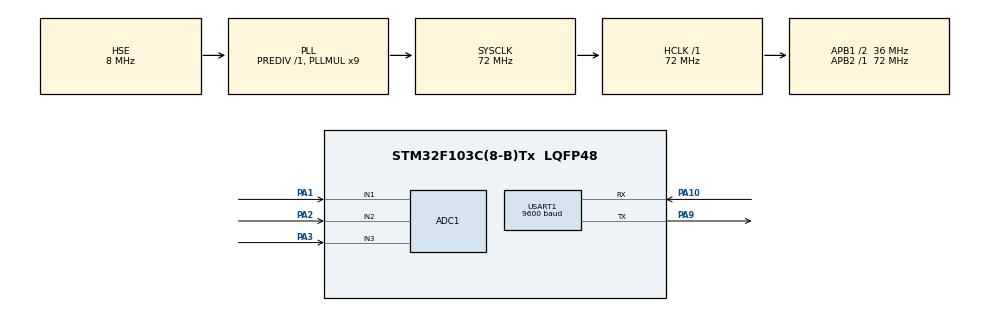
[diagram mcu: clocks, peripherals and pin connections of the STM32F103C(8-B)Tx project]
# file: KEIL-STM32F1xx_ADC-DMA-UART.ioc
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ADC1.AutoInjectedConv=DISABLE
ADC1.Channel-4\#ChannelRegularConversion=ADC_CHANNEL_1
ADC1.Channel-5\#ChannelRegularConversion=ADC_CHANNEL_2
ADC1.Channel-6\#ChannelRegularConversion=ADC_CHANNEL_3
ADC1.ContinuousConvMode=ENABLE
ADC1.InjectedDiscontinuousConvMode=DISABLE
ADC1.NbrOfConversion=3
ADC1.NbrOfConversionFlag=1
ADC1.Rank-4\#ChannelRegularConversion=1
ADC1.Rank-5\#ChannelRegularConversion=2
ADC1.Rank-6\#ChannelRegularConversion=3
ADC1.SamplingTime-4\#ChannelRegularConversion=ADC_SAMPLETIME_55CYCLES_5
ADC1.SamplingTime-5\#ChannelRegularConversion=ADC_SAMPLETIME_55CYCLES_5
ADC1.SamplingTime-6\#ChannelRegularConversion=ADC_SAMPLETIME_55CYCLES_5
ADC1.master=1
Dma.ADC1.0.Direction=DMA_PERIPH_TO_MEMORY
Dma.ADC1.0.Instance=DMA1_Channel1
Dma.ADC1.0.MemDataAlignment=DMA_MDATAALIGN_HALFWORD
Dma.ADC1.0.MemInc=DMA_MINC_ENABLE
Dma.ADC1.0.Mode=DMA_CIRCULAR
Dma.ADC1.0.PeriphDataAlignment=DMA_PDATAALIGN_HALFWORD
Dma.ADC1.0.PeriphInc=DMA_PINC_DISABLE
Dma.ADC1.0.Priority=DMA_PRIORITY_LOW
Dma.Request0=ADC1
Mcu.Family=STM32F1
Mcu.Name=STM32F103C(8-B)Tx
Mcu.Package=LQFP48
NVIC.DMA1_Channel1_IRQn=true\:0\:0\:false\:false\:true
NVIC.PriorityGroup=NVIC_PRIORITYGROUP_4
PA1.Signal=ADCx_IN1
PA10.Mode=Asynchronous
PA10.Signal=USART1_RX
PA13.Mode=Serial_Wire
PA13.Signal=SYS_JTMS-SWDIO
PA14.Mode=Serial_Wire
PA14.Signal=SYS_JTCK-SWCLK
PA2.Signal=ADCx_IN2
PA3.Signal=ADCx_IN3
PA9.Mode=Asynchronous
PA9.Signal=USART1_TX
PD0-OSC_IN.Mode=HSE-External-Oscillator
PD0-OSC_IN.Signal=RCC_OSC_IN
PD1-OSC_OUT.Mode=HSE-External-Oscillator
PD1-OSC_OUT.Signal=RCC_OSC_OUT
ProjectManager.HeapSize=0x200
ProjectManager.StackSize=0x400
ProjectManager.TargetToolchain=MDK-ARM V5
RCC.ADCPresc=RCC_ADCPCLK2_DIV6
RCC.AHBCLKDivider=RCC_SYSCLK_DIV1
RCC.AHBFreq_Value=72000000
RCC.APB1CLKDivider=RCC_HCLK_DIV2
RCC.APB1Freq_Value=36000000
RCC.APB1TimFreq_Value=72000000
RCC.APB2CLKDivider=RCC_HCLK_DIV1
RCC.APB2Freq_Value=72000000
RCC.APB2TimFreq_Value=72000000
RCC.ClockTypeHCLK=RCC_CLOCKTYPE_HCLK
RCC.ClockTypePCLK1=RCC_CLOCKTYPE_PCLK1
RCC.ClockTypePCLK2=RCC_CLOCKTYPE_PCLK2
RCC.EnableHSE=true
RCC.EnableHSERTCDevisor=false
RCC.EnableLSE=false
RCC.EnableLSERTC=false
RCC.EnableMCOMultDivisor=false
RCC.HCLKFreq_Value=72000000
RCC.HSEState=RCC_HSE_ON
RCC.HSIState=RCC_HSI_ON
RCC.IWDGEnable=false
RCC.LSIState=RCC_LSI_OFF
RCC.MCOEnable=false
RCC.OscillatorTypeHSE=RCC_OSCILLATORTYPE_HSE
RCC.OscillatorTypeHSI=RCC_OSCILLATORTYPE_HSI
RCC.PLLMUL=RCC_PLL_MUL9
RCC.PLLSource=RCC_PLLSOURCE_HSE
RCC.PLLSourceVirtual=RCC_PLLSOURCE_HSE
RCC.PLLState=RCC_PLL_ON
RCC.RTCEnable=false
RCC.SYSCLKFreq_VALUE=72000000
RCC.SYSCLKSource=RCC_SYSCLKSOURCE_PLLCLK
RCC.TimSys_Div=SYSTICK_CLKSOURCE_HCLK
RCC.USBFreq_Value=72000000
SH.ADCx_IN1.0=ADC1_IN1,IN1
SH.ADCx_IN2.0=ADC1_IN2,IN2
SH.ADCx_IN3.0=ADC1_IN3,IN3
USART1.BaudRate=9600
USART1.HwFlowCtl-Asynchronous=UART_HWCONTROL_NONE
USART1.VirtualMode=VM_ASYNC
board=KEIL-STM32F1xx_ADC-DMA-UART

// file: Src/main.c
/**
  ******************************************************************************
  * File Name          : main.c
  * Description        : Main program body
  ******************************************************************************
  *
  * COPYRIGHT(c) 2017 STMicroelectronics
  *
  * Redistribution and use in source and binary forms, with or without modification,
  * are permitted provided that the following conditions are met:
  *   1. Redistributions of source code must retain the above copyright notice,
  *      this list of conditions and the following disclaimer.
  *   2. Redistributions in binary form must reproduce the above copyright notice,
  *      this list of conditions and the following disclaimer in the documentation
  *      and/or other materials provided with the distribution.
  *   3. Neither the name of STMicroelectronics nor the names of its contributors
  *      may be used to endorse or promote products derived from this software
  *      without specific prior written permission.
  *
  * THIS SOFTWARE IS PROVIDED BY THE COPYRIGHT HOLDERS AND CONTRIBUTORS "AS IS"
  * AND ANY EXPRESS OR IMPLIED WARRANTIES, INCLUDING, BUT NOT LIMITED TO, THE
  * IMPLIED WARRANTIES OF MERCHANTABILITY AND FITNESS FOR A PARTICULAR PURPOSE ARE
  * DISCLAIMED. IN NO EVENT SHALL THE COPYRIGHT HOLDER OR CONTRIBUTORS BE LIABLE
  * FOR ANY DIRECT, INDIRECT, INCIDENTAL, SPECIAL, EXEMPLARY, OR CONSEQUENTIAL
  * DAMAGES (INCLUDING, BUT NOT LIMITED TO, PROCUREMENT OF SUBSTITUTE GOODS OR
  * SERVICES; LOSS OF USE, DATA, OR PROFITS; OR BUSINESS INTERRUPTION) HOWEVER
  * CAUSED AND ON ANY THEORY OF LIABILITY, WHETHER IN CONTRACT, STRICT LIABILITY,
  * OR TORT (INCLUDING NEGLIGENCE OR OTHERWISE) ARISING IN ANY WAY OUT OF THE USE
  * OF THIS SOFTWARE, EVEN IF ADVISED OF THE POSSIBILITY OF SUCH DAMAGE.
  *
  ******************************************************************************
  */
#include "main.h"
#include "stm32f1xx_hal.h"

ADC_HandleTypeDef hadc1;
DMA_HandleTypeDef hdma_adc1;

UART_HandleTypeDef huart1;

/* USER CODE BEGIN PV */
/* Private variables ---------------------------------------------------------*/
uint8_t tab[1]="\t";
uint8_t enter[2]="\r\n";
char ADC_1c[5];
char ADC_2c[5];
char ADC_3c[5];
uint16_t ADC_1;
uint16_t ADC_2;
uint16_t ADC_3;
volatile uint16_t ADC_Buff[3];

/* USER CODE END PV */

void SystemClock_Config(void);
void Error_Handler(void);
static void MX_GPIO_Init(void);
static void MX_DMA_Init(void);
static void MX_ADC1_Init(void);
static void MX_USART1_UART_Init(void);

/* USER CODE BEGIN PFP */
/* Private function prototypes -----------------------------------------------*/

/* USER CODE END PFP */

int main(void)
{

  /* MCU Configuration----------------------------------------------------------*/

  /* Reset of all peripherals, Initializes the Flash interface and the Systick. */
  HAL_Init();

  /* Configure the system clock */
  SystemClock_Config();

  /* Initialize all configured peripherals */
  MX_GPIO_Init();
  MX_DMA_Init();
  MX_ADC1_Init();
  MX_USART1_UART_Init();

  /* USER CODE BEGIN 2 */
	HAL_ADC_Start_DMA(&hadc1, (uint32_t *) ADC_Buff, 3);
  /* USER CODE END 2 */

  /* Infinite loop */
  while (1)
  {

  /* USER CODE BEGIN 3 */
		ADC_1 = ADC_Buff[0];
		ADC_2 = ADC_Buff[1];
		ADC_3 = ADC_Buff[2];
		sprintf(ADC_1c, "%05d", ADC_1);
		sprintf(ADC_2c, "%05d", ADC_2);
		sprintf(ADC_3c, "%05d", ADC_3);
		HAL_UART_Transmit(&huart1, (uint8_t *) ADC_1c, 5, 1000);HAL_UART_Transmit(&huart1, tab, 1, 1000);
		HAL_UART_Transmit(&huart1, (uint8_t *) ADC_2c, 5, 1000);HAL_UART_Transmit(&huart1, tab, 1, 1000);
		HAL_UART_Transmit(&huart1, (uint8_t *) ADC_3c, 5, 1000);HAL_UART_Transmit(&huart1, enter, 2, 1000);
		HAL_Delay(500);
  }
  /* USER CODE END 3 */

}

/** System Clock Configuration
*/
void SystemClock_Config(void)
{

  RCC_OscInitTypeDef RCC_OscInitStruct;
  RCC_ClkInitTypeDef RCC_ClkInitStruct;
  RCC_PeriphCLKInitTypeDef PeriphClkInit;

    /**Initializes the CPU, AHB and APB busses clocks
    */
  RCC_OscInitStruct.OscillatorType = RCC_OSCILLATORTYPE_HSE;
  RCC_OscInitStruct.HSEState = RCC_HSE_ON;
  RCC_OscInitStruct.HSEPredivValue = RCC_HSE_PREDIV_DIV1;
  RCC_OscInitStruct.PLL.PLLState = RCC_PLL_ON;
  RCC_OscInitStruct.PLL.PLLSource = RCC_PLLSOURCE_HSE;
  RCC_OscInitStruct.PLL.PLLMUL = RCC_PLL_MUL9;
  if (HAL_RCC_OscConfig(&RCC_OscInitStruct) != HAL_OK)
  {
    Error_Handler();
  }

    /**Initializes the CPU, AHB and APB busses clocks
    */
  RCC_ClkInitStruct.ClockType = RCC_CLOCKTYPE_HCLK|RCC_CLOCKTYPE_SYSCLK
                              |RCC_CLOCKTYPE_PCLK1|RCC_CLOCKTYPE_PCLK2;
  RCC_ClkInitStruct.SYSCLKSource = RCC_SYSCLKSOURCE_PLLCLK;
  RCC_ClkInitStruct.AHBCLKDivider = RCC_SYSCLK_DIV1;
  RCC_ClkInitStruct.APB1CLKDivider = RCC_HCLK_DIV2;
  RCC_ClkInitStruct.APB2CLKDivider = RCC_HCLK_DIV1;

  if (HAL_RCC_ClockConfig(&RCC_ClkInitStruct, FLASH_LATENCY_2) != HAL_OK)
  {
    Error_Handler();
  }

  PeriphClkInit.PeriphClockSelection = RCC_PERIPHCLK_ADC;
  PeriphClkInit.AdcClockSelection = RCC_ADCPCLK2_DIV6;
  if (HAL_RCCEx_PeriphCLKConfig(&PeriphClkInit) != HAL_OK)
  {
    Error_Handler();
  }

    /**Configure the Systick interrupt time
    */
  HAL_SYSTICK_Config(HAL_RCC_GetHCLKFreq()/1000);

    /**Configure the Systick
    */
  HAL_SYSTICK_CLKSourceConfig(SYSTICK_CLKSOURCE_HCLK);

  /* SysTick_IRQn interrupt configuration */
  HAL_NVIC_SetPriority(SysTick_IRQn, 0, 0);
}

/* ADC1 init function */
static void MX_ADC1_Init(void)
{

  ADC_ChannelConfTypeDef sConfig;

    /**Common config
    */
  hadc1.Instance = ADC1;
  hadc1.Init.ScanConvMode = ADC_SCAN_ENABLE;
  hadc1.Init.ContinuousConvMode = ENABLE;
  hadc1.Init.DiscontinuousConvMode = DISABLE;
  hadc1.Init.ExternalTrigConv = ADC_SOFTWARE_START;
  hadc1.Init.DataAlign = ADC_DATAALIGN_RIGHT;
  hadc1.Init.NbrOfConversion = 3;
  if (HAL_ADC_Init(&hadc1) != HAL_OK)
  {
    Error_Handler();
  }

    /**Configure Regular Channel
    */
  sConfig.Channel = ADC_CHANNEL_1;
  sConfig.Rank = 1;
  sConfig.SamplingTime = ADC_SAMPLETIME_55CYCLES_5;
  if (HAL_ADC_ConfigChannel(&hadc1, &sConfig) != HAL_OK)
  {
    Error_Handler();
  }

    /**Configure Regular Channel
    */
  sConfig.Channel = ADC_CHANNEL_2;
  sConfig.Rank = 2;
  if (HAL_ADC_ConfigChannel(&hadc1, &sConfig) != HAL_OK)
  {
    Error_Handler();
  }

    /**Configure Regular Channel
    */
  sConfig.Channel = ADC_CHANNEL_3;
  sConfig.Rank = 3;
  if (HAL_ADC_ConfigChannel(&hadc1, &sConfig) != HAL_OK)
  {
    Error_Handler();
  }

}

/* USART1 init function */
static void MX_USART1_UART_Init(void)
{

  huart1.Instance = USART1;
  huart1.Init.BaudRate = 9600;
  huart1.Init.WordLength = UART_WORDLENGTH_8B;
  huart1.Init.StopBits = UART_STOPBITS_1;
  huart1.Init.Parity = UART_PARITY_NONE;
  huart1.Init.Mode = UART_MODE_TX_RX;
  huart1.Init.HwFlowCtl = UART_HWCONTROL_NONE;
  huart1.Init.OverSampling = UART_OVERSAMPLING_16;
  if (HAL_UART_Init(&huart1) != HAL_OK)
  {
    Error_Handler();
  }

}

static void MX_DMA_Init(void)
{
  /* DMA controller clock enable */
  __HAL_RCC_DMA1_CLK_ENABLE();

  /* DMA interrupt init */
  /* DMA1_Channel1_IRQn interrupt configuration */
  HAL_NVIC_SetPriority(DMA1_Channel1_IRQn, 0, 0);
  HAL_NVIC_EnableIRQ(DMA1_Channel1_IRQn);

}

/** Configure pins as
        * Analog
        * Input
        * Output
        * EVENT_OUT
        * EXTI
*/
static void MX_GPIO_Init(void)
{

  /* GPIO Ports Clock Enable */
  __HAL_RCC_GPIOD_CLK_ENABLE();
  __HAL_RCC_GPIOA_CLK_ENABLE();

}

void Error_Handler(void)
{
  while(1)
  {
  }
}

/************************ (C) COPYRIGHT STMicroelectronics *****END OF FILE****/
